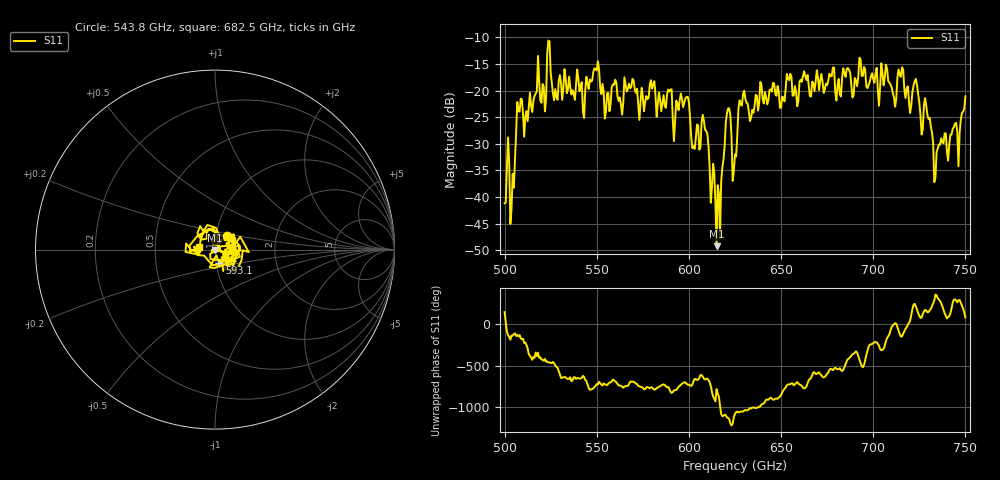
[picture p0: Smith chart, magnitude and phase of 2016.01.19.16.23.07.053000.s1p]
!Created with skrf (http://scikit-rf.org).
# GHz S RI R 50.0
!freq ReS11 ImS11
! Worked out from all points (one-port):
!   401 points, 500 GHz to 750 GHz, reference 50 ohm
!   lowest |S11| = -49.2 dB at 615 GHz (marker M1), VSWR 1.01, Z = 50.2 - j0.304 ohm
!   |S11| at or under -10 dB: start of sweep to end of sweep
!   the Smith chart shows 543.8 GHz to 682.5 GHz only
!   S11 on the Smith chart (normalised r, x): 543.8 GHz: 1.13, +0.17; 593.1 GHz: 1.04, -0.16; 682.5 GHz: 0.84, +0.03
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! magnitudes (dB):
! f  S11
! 500 GHz  -41.2
! 504.4 GHz  -35.7
! 508.1 GHz  -24.0
! 521.2 GHz  -19.2
! 524.4 GHz  -10.8
! 527.5 GHz  -19.7
! 531.2 GHz  -21.8
! 543.8 GHz  -20.0
! 550 GHz  -16.2
! 562.5 GHz  -21.3
! 580 GHz  -19.6
! 593.1 GHz  -21.9
! 593.8 GHz  -22.4
! 598.8 GHz  -21.2
! 602.5 GHz  -30.4
! 608.8 GHz  -27.4
! 615 GHz  -49.2
! 616.2 GHz  -39.3
! 621.2 GHz  -23.4
! 625 GHz  -32.0
! 628.8 GHz  -22.8
! 656.2 GHz  -21.0
! 682.5 GHz  -21.1
! 687.5 GHz  -16.6
! 718.8 GHz  -19.2
! 723.1 GHz  -17.8
! 734.4 GHz  -31.6
! 750 GHz  -21.1
